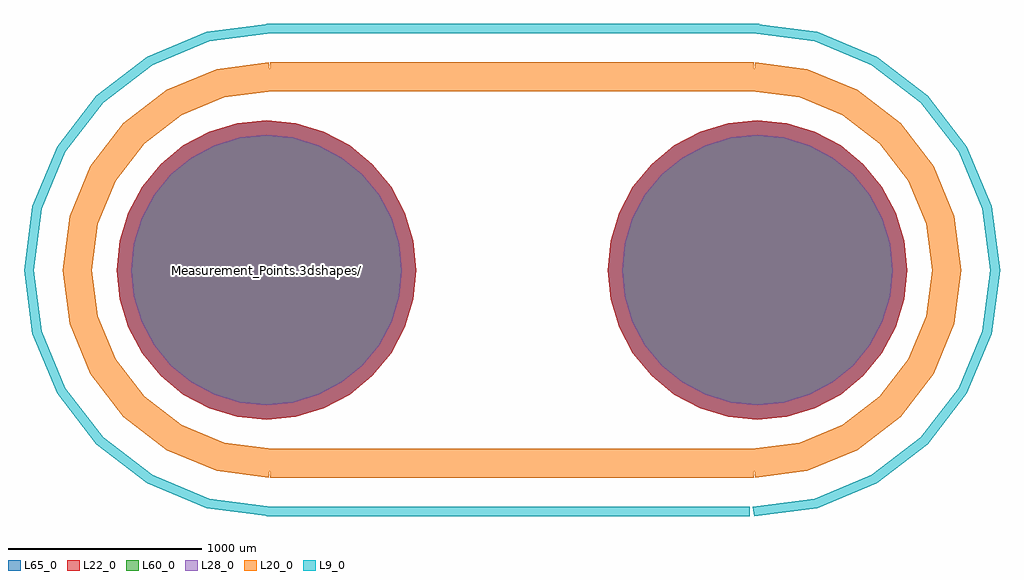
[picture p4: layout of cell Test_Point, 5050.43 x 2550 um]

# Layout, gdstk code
import gdstk
lib = gdstk.Library(unit=1e-6, precision=1e-09)
def P(c, l, *ps):  # polygons
    for p in ps: c.add(gdstk.Polygon(p, *l))
L9_0 = (9, 0)
L20_0 = (20, 0)
L22_0 = (22, 0)
L28_0 = (28, 0)
L60_0 = (60, 0)
L65_0 = (65, 0)

test_point = lib.new_cell('Test_Point')
P(test_point, L22_0, [(3315,0),(3300.109,151.195),(3256.007,296.58),(3184.389,430.567),(3088.008,548.008),(2970.567,644.389),(2836.58,716.007),(2691.195,760.109),(2540,775),(2388.805,760.109),(2243.42,716.007),(2109.433,644.389),(1991.992,548.008),(1895.611,430.567),(1823.993,296.58),(1779.891,151.195),(1765,0),(1779.891,-151.195),(1823.993,-296.58),(1895.611,-430.567),(1991.992,-548.008),(2109.433,-644.389),(2243.42,-716.007),(2388.805,-760.109),(2540,-775),(2691.195,-760.109),(2836.58,-716.007),(2970.567,-644.389),(3088.008,-548.008),(3184.389,-430.567),(3256.007,-296.58),(3300.109,-151.195)],
  [(775,0),(760.109,151.195),(716.007,296.58),(644.389,430.567),(548.008,548.008),(430.567,644.389),(296.58,716.007),(151.195,760.109),(0,775),(-151.195,760.109),(-296.58,716.007),(-430.567,644.389),(-548.008,548.008),(-644.389,430.567),(-716.007,296.58),(-760.109,151.195),(-775,0),(-760.109,-151.195),(-716.007,-296.58),(-644.389,-430.567),(-548.008,-548.008),(-430.567,-644.389),(-296.58,-716.007),(-151.195,-760.109),(0,-775),(151.195,-760.109),(296.58,-716.007),(430.567,-644.389),(548.008,-548.008),(644.389,-430.567),(716.007,-296.58),(760.109,-151.195)])
P(test_point, L28_0, [(3240,0),(3226.55,136.563),(3186.716,267.878),(3122.029,388.899),(3034.975,494.975),(2928.899,582.029),(2807.878,646.716),(2676.563,686.55),(2540,700),(2403.437,686.55),(2272.122,646.716),(2151.101,582.029),(2045.025,494.975),(1957.971,388.899),(1893.284,267.878),(1853.45,136.563),(1840,0),(1853.45,-136.563),(1893.284,-267.878),(1957.971,-388.899),(2045.025,-494.975),(2151.101,-582.029),(2272.122,-646.716),(2403.437,-686.55),(2540,-700),(2676.563,-686.55),(2807.878,-646.716),(2928.899,-582.029),(3034.975,-494.975),(3122.029,-388.899),(3186.716,-267.878),(3226.55,-136.563)],
  [(700,0),(686.55,136.563),(646.716,267.878),(582.029,388.899),(494.975,494.975),(388.899,582.029),(267.878,646.716),(136.563,686.55),(0,700),(-136.563,686.55),(-267.878,646.716),(-388.899,582.029),(-494.975,494.975),(-582.029,388.899),(-646.716,267.878),(-686.55,136.563),(-700,0),(-686.55,-136.563),(-646.716,-267.878),(-582.029,-388.899),(-494.975,-494.975),(-388.899,-582.029),(-267.878,-646.716),(-136.563,-686.55),(0,-700),(136.563,-686.55),(267.878,-646.716),(388.899,-582.029),(494.975,-494.975),(582.029,-388.899),(646.716,-267.878),(686.55,-136.563)])
P(test_point, L60_0, [(3240,0),(3226.55,136.563),(3186.716,267.878),(3122.029,388.899),(3034.975,494.975),(2928.899,582.029),(2807.878,646.716),(2676.563,686.55),(2540,700),(2403.437,686.55),(2272.122,646.716),(2151.101,582.029),(2045.025,494.975),(1957.971,388.899),(1893.284,267.878),(1853.45,136.563),(1840,0),(1853.45,-136.563),(1893.284,-267.878),(1957.971,-388.899),(2045.025,-494.975),(2151.101,-582.029),(2272.122,-646.716),(2403.437,-686.55),(2540,-700),(2676.563,-686.55),(2807.878,-646.716),(2928.899,-582.029),(3034.975,-494.975),(3122.029,-388.899),(3186.716,-267.878),(3226.55,-136.563)],
  [(700,0),(686.55,136.563),(646.716,267.878),(582.029,388.899),(494.975,494.975),(388.899,582.029),(267.878,646.716),(136.563,686.55),(0,700),(-136.563,686.55),(-267.878,646.716),(-388.899,582.029),(-494.975,494.975),(-582.029,388.899),(-646.716,267.878),(-686.55,136.563),(-700,0),(-686.55,-136.563),(-646.716,-267.878),(-582.029,-388.899),(-494.975,-494.975),(-388.899,-582.029),(-267.878,-646.716),(-136.563,-686.55),(0,-700),(136.563,-686.55),(267.878,-646.716),(388.899,-582.029),(494.975,-494.975),(582.029,-388.899),(646.716,-267.878),(686.55,-136.563)])
P(test_point, L65_0, [(3315,0),(3300.109,151.195),(3256.007,296.58),(3184.389,430.567),(3088.008,548.008),(2970.567,644.389),(2836.58,716.007),(2691.195,760.109),(2540,775),(2388.805,760.109),(2243.42,716.007),(2109.433,644.389),(1991.992,548.008),(1895.611,430.567),(1823.993,296.58),(1779.891,151.195),(1765,0),(1779.891,-151.195),(1823.993,-296.58),(1895.611,-430.567),(1991.992,-548.008),(2109.433,-644.389),(2243.42,-716.007),(2388.805,-760.109),(2540,-775),(2691.195,-760.109),(2836.58,-716.007),(2970.567,-644.389),(3088.008,-548.008),(3184.389,-430.567),(3256.007,-296.58),(3300.109,-151.195)],
  [(775,0),(760.109,151.195),(716.007,296.58),(644.389,430.567),(548.008,548.008),(430.567,644.389),(296.58,716.007),(151.195,760.109),(0,775),(-151.195,760.109),(-296.58,716.007),(-430.567,644.389),(-548.008,548.008),(-644.389,430.567),(-716.007,296.58),(-760.109,151.195),(-775,0),(-760.109,-151.195),(-716.007,-296.58),(-644.389,-430.567),(-548.008,-548.008),(-430.567,-644.389),(-296.58,-716.007),(-151.195,-760.109),(0,-775),(151.195,-760.109),(296.58,-716.007),(430.567,-644.389),(548.008,-548.008),(644.389,-430.567),(716.007,-296.58),(760.109,-151.195)])
test_point.add(gdstk.FlexPath([(20,1000),(-238.819,965.926),(-480,866.025),(-687.107,707.107),(-846.025,500),(-945.926,258.819),(-980,0),(-945.926,-258.819),(-846.025,-500),(-687.107,-707.107),(-480,-866.025),(-238.819,-965.926),(20,-1000)], 149.998, ends="flush", simple_path=True, layer=20, datatype=0))  # L20_0
test_point.add(gdstk.FlexPath([(2520,-1000),(2778.819,-965.926),(3020,-866.025),(3227.107,-707.107),(3386.025,-500),(3485.926,-258.819),(3520,0),(3485.926,258.819),(3386.025,500),(3227.107,707.107),(3020,866.025),(2778.819,965.926),(2520,1000)], 149.998, ends="flush", simple_path=True, layer=20, datatype=0))  # L20_0
test_point.add(gdstk.FlexPath([(2520,-1250),(2843.524,-1207.407),(3145,-1082.532),(3403.883,-883.883),(3602.532,-625),(3727.407,-323.524),(3770,0),(3727.407,323.524),(3602.532,625),(3403.883,883.883),(3145,1082.532),(2843.524,1207.407),(2520,1250)], 50, ends="flush", simple_path=True, layer=9, datatype=0))  # L9_0
test_point.add(gdstk.FlexPath([(20,1250),(-303.524,1207.407),(-605,1082.532),(-863.883,883.883),(-1062.532,625),(-1187.407,323.524),(-1230,0),(-1187.407,-323.524),(-1062.532,-625),(-863.883,-883.883),(-605,-1082.532),(-303.524,-1207.407),(20,-1250)], 50, ends="flush", simple_path=True, layer=9, datatype=0))  # L9_0
test_point.add(gdstk.FlexPath([(2520,1000),(20,1000)], 149.998, ends="flush", simple_path=True, layer=20, datatype=0))  # L20_0
test_point.add(gdstk.FlexPath([(2520,-1000),(20,-1000)], 149.998, ends="flush", simple_path=True, layer=20, datatype=0))  # L20_0
test_point.add(gdstk.FlexPath([(0,1250),(2550,1250)], 50, ends="flush", simple_path=True, layer=9, datatype=0))  # L9_0
test_point.add(gdstk.FlexPath([(0,-1250),(2500,-1250)], 50, ends="flush", simple_path=True, layer=9, datatype=0))  # L9_0
test_point.add(gdstk.Label('Measurement_Points.3dshapes/Test_Point.wrl', (0,0), layer=12, texttype=0))
test_point.add(gdstk.Label('1', (0,0), layer=28, texttype=0))
test_point.add(gdstk.Label('type', (1270,-2000), layer=9, texttype=0))
test_point.add(gdstk.Label('devicename', (1270,2000), layer=9, texttype=0))

lib.write_gds('Test_Point.gds')
